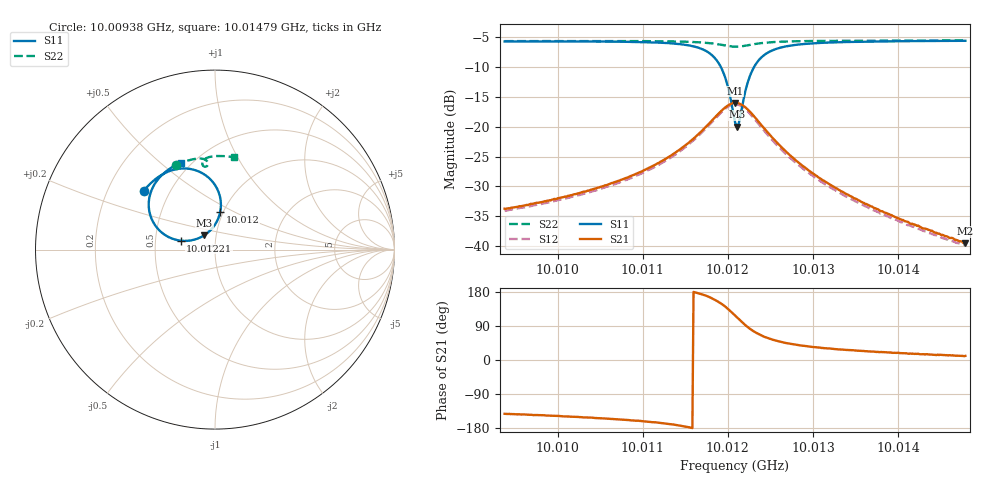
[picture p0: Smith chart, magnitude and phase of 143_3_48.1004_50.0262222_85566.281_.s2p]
#  HZ  S  RI  R  50.00
! Rohde & Schwarz Vector Network Analyzer
! Rohde-Schwarz,ZNB20-2Port,1311601062101988,3.16
! Created: UTC 12/23/2023, 3:49:00 AM
! freq[Hz]  re:S11  im:S11  re:S21  im:S21  re:S12  im:S12  re:S22  im:S22
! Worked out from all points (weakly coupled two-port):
!   401 points, 10.00938 GHz to 10.01479 GHz, reference 50 ohm
!   highest |S21| = -16.03 dB at 10.01208 GHz (marker M1); lowest = -39.5 dB at 10.01479 GHz (marker M2)
!   lowest |S11| = -20.0 dB at 10.01211 GHz (marker M3), VSWR 1.22, Z = 43.8 + j7.07 ohm
!   |S11| at or under -10 dB: 10.01192 GHz to 10.01231 GHz (394 kHz wide, 0.00394 % of centre)
!   |S22| runs from -6.7 to -5.6 dB; largest |S21 - S12| = 0.0079
!   S11 on the Smith chart (normalised r, x): 10.00938 GHz: 0.36, +0.32; 10.012 GHz: 0.97, +0.43; 10.01221 GHz: 0.67, +0.07; 10.01479 GHz: 0.44, +0.59
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1.0009376e10  -0.397 0.3273  -0.0163 -0.0127  -0.0149 -0.0129  -0.2187 0.4692
1.0010283e10  -0.3421 0.3841  -0.0248 -0.0137  -0.0232 -0.0141  -0.1629 0.4924
1.0010798e10  -0.2961 0.4169  -0.0344 -0.014  -0.0325 -0.0149  -0.1286 0.5022
1.001119e10  -0.2416 0.4413  -0.0483 -0.0123  -0.0459 -0.0143  -0.0996 0.5072
1.0011515e10  -0.163 0.4518  -0.0711 -0.00465  -0.0681 -0.00814  -0.0724 0.5068
1.0011773e10  -0.0507 0.4128  -0.1021 0.0236  -0.1001 0.0176  -0.0482 0.497
1.0011908e10  0.0185 0.3239  -0.1152 0.0644  -0.1155 0.0571  -0.0392 0.4826
1.0011962e10  0.0324 0.2633  -0.1133 0.0877  -0.114 0.0808  -0.0392 0.4751
1.0012003e10  0.029 0.2102  -0.1056 0.1072  -0.1074 0.1002  -0.0412 0.4694
1.0012084e10  -0.0271 0.1059  -0.0724 0.1403  -0.0761 0.1335  -0.0514 0.4621
1.0012111e10  -0.0598 0.0799  -0.0576 0.1465  -0.0612 0.1403  -0.0556 0.4618
1.0012138e10  -0.0965 0.0614  -0.0425 0.1495  -0.0458 0.1438  -0.0598 0.4628
1.0012206e10  -0.192 0.0498  -0.00496 0.1449  -0.00939 0.1396  -0.0679 0.4691
1.0012246e10  -0.2416 0.0625  0.0128 0.1356  0.00798 0.131  -0.0702 0.4748
1.0012301e10  -0.2938 0.0927  0.0298 0.1199  0.024 0.1162  -0.0709 0.4824
1.0012368e10  -0.3352 0.1378  0.0414 0.1001  0.0362 0.0973  -0.0685 0.4911
1.0012436e10  -0.357 0.1812  0.0467 0.0827  0.0413 0.0808  -0.064 0.4979
1.001268e10  -0.3656 0.2917  0.044 0.0439  0.04 0.0438  -0.0436 0.5119
1.0012991e10  -0.3377 0.3631  0.0338 0.0232  0.031 0.0239  -0.0181 0.5187
1.0013384e10  -0.3006 0.4105  0.0246 0.0125  0.0227 0.013  0.0112 0.5214
1.0013898e10  -0.2575 0.447  0.0174 0.00623  0.0161 0.00682  0.0469 0.5211
1.0014792e10  -0.1905 0.4848  0.0104 0.00199  0.00972 0.00247  0.1057 0.5135
